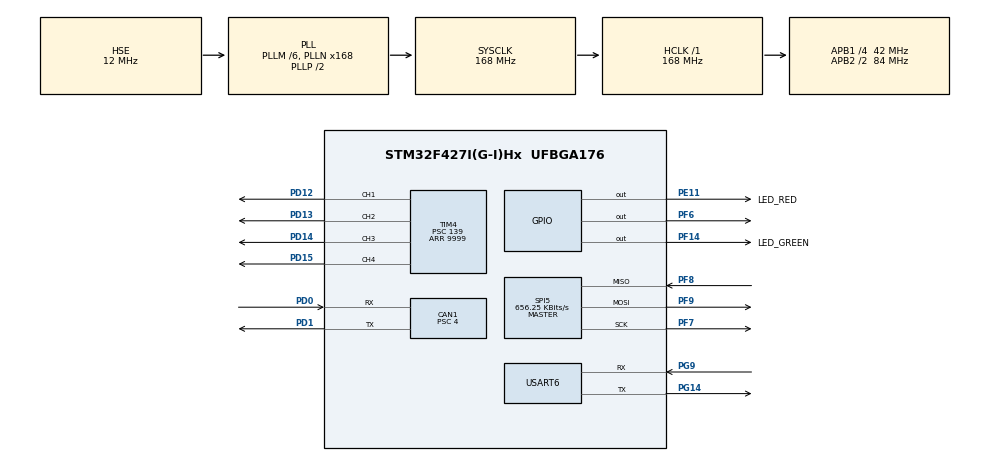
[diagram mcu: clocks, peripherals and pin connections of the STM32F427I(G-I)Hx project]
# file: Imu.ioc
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CAN1.BS1=CAN_BS1_14TQ
CAN1.BS2=CAN_BS2_6TQ
CAN1.CalculateTimeQuantum=95.23809523809524
CAN1.Prescaler=4
Mcu.Family=STM32F4
Mcu.Name=STM32F427I(G-I)Hx
Mcu.Package=UFBGA176
NVIC.CAN1_RX0_IRQn=true\:0\:0\:false\:false\:true\:true\:true\:true
NVIC.PriorityGroup=NVIC_PRIORITYGROUP_4
NVIC.TIM1_UP_TIM10_IRQn=true\:0\:0\:false\:false\:true\:true\:true\:true
NVIC.USART6_IRQn=true\:0\:0\:false\:false\:true\:true\:true\:true
PA13.Mode=Serial_Wire
PA13.Signal=SYS_JTMS-SWDIO
PA14.Mode=Serial_Wire
PA14.Signal=SYS_JTCK-SWCLK
PD0.Mode=Master
PD0.Signal=CAN1_RX
PD1.Mode=Master
PD1.Signal=CAN1_TX
PD12.Signal=S_TIM4_CH1
PD13.Signal=S_TIM4_CH2
PD14.Signal=S_TIM4_CH3
PD15.Signal=S_TIM4_CH4
PE11.GPIO_Label=LED_RED
PE11.Signal=GPIO_Output
PF14.GPIO_Label=LED_GREEN
PF14.Signal=GPIO_Output
PF6.Signal=GPIO_Output
PF7.Mode=Full_Duplex_Master
PF7.Signal=SPI5_SCK
PF8.Mode=Full_Duplex_Master
PF8.Signal=SPI5_MISO
PF9.Mode=Full_Duplex_Master
PF9.Signal=SPI5_MOSI
PG14.Mode=Asynchronous
PG14.Signal=USART6_TX
PG9.Mode=Asynchronous
PG9.Signal=USART6_RX
PH0/OSC_IN.Mode=HSE-External-Oscillator
PH0/OSC_IN.Signal=RCC_OSC_IN
PH1/OSC_OUT.Mode=HSE-External-Oscillator
PH1/OSC_OUT.Signal=RCC_OSC_OUT
ProjectManager.HeapSize=0x200
ProjectManager.StackSize=0x400
ProjectManager.TargetToolchain=MDK-ARM V5
RCC.48MHZClocksFreq_Value=84000000
RCC.AHBFreq_Value=168000000
RCC.APB1CLKDivider=RCC_HCLK_DIV4
RCC.APB1Freq_Value=42000000
RCC.APB1TimFreq_Value=84000000
RCC.APB2CLKDivider=RCC_HCLK_DIV2
RCC.APB2Freq_Value=84000000
RCC.APB2TimFreq_Value=168000000
RCC.CortexFreq_Value=168000000
RCC.HCLKFreq_Value=168000000
RCC.HSE_VALUE=12000000
RCC.HSI_VALUE=16000000
RCC.LSE_VALUE=32768
RCC.PLLM=6
RCC.PLLN=168
RCC.PLLSourceVirtual=RCC_PLLSOURCE_HSE
RCC.SYSCLKFreq_VALUE=168000000
RCC.SYSCLKSource=RCC_SYSCLKSOURCE_PLLCLK
RCC.VCOOutputFreq_Value=336000000
SH.S_TIM4_CH1.0=TIM4_CH1,PWM Generation1 CH1
SH.S_TIM4_CH2.0=TIM4_CH2,PWM Generation2 CH2
SH.S_TIM4_CH3.0=TIM4_CH3,PWM Generation3 CH3
SH.S_TIM4_CH4.0=TIM4_CH4,PWM Generation4 CH4
SPI5.BaudRatePrescaler=SPI_BAUDRATEPRESCALER_128
SPI5.CalculateBaudRate=656.25 KBits/s
SPI5.Direction=SPI_DIRECTION_2LINES
SPI5.Mode=SPI_MODE_MASTER
SPI5.VirtualType=VM_MASTER
TIM1.Period=1679
TIM1.Prescaler=9999
TIM4.Channel-PWM\ Generation1\ CH1=TIM_CHANNEL_1
TIM4.Channel-PWM\ Generation2\ CH2=TIM_CHANNEL_2
TIM4.Channel-PWM\ Generation3\ CH3=TIM_CHANNEL_3
TIM4.Channel-PWM\ Generation4\ CH4=TIM_CHANNEL_4
TIM4.Period=9999
TIM4.Prescaler=139
USART6.VirtualMode=VM_ASYNC
VP_TIM1_VS_ClockSourceINT.Mode=Internal
board=Imu

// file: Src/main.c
/* USER CODE BEGIN Header */
/**
  ******************************************************************************
  * @file           : main.c
  * @brief          : Main program body
  ******************************************************************************
  * @attention
  *
  * Copyright (c) 2024 STMicroelectronics.
  * All rights reserved.
  *
  * This software is licensed under terms that can be found in the LICENSE file
  * in the root directory of this software component.
  * If no LICENSE file comes with this software, it is provided AS-IS.
  *
  ******************************************************************************
  */
/* USER CODE END Header */
#include "main.h"
#include "can.h"
#include "spi.h"
#include "tim.h"
#include "usart.h"
#include "gpio.h"

/* USER CODE BEGIN Includes */
#include "bsp_imu.h"
/* USER CODE END Includes */

/* USER CODE BEGIN PV */
/* Private variables ---------------------------------------------------------*/
extern UART_HandleTypeDef huart6;
extern imu_t              imu;
char buf[300];
int count;
 double flag = 0;
  uint8_t begin_state = 0;
	double jumps=0;
	uint16_t frequency=0;
	uint8_t pre_state = 0;
	uint8_t now_state = 0;
volatile uint8_t can_receive[8];

/* USER CODE END PV */

void SystemClock_Config(void);
/* USER CODE BEGIN PFP */
/* Private function prototypes -----------------------------------------------*/
//set the can filter
void can_filter_init(void)
{
    CAN_FilterTypeDef can_filter_st;
    can_filter_st.FilterActivation = ENABLE;
    can_filter_st.FilterMode = CAN_FILTERMODE_IDMASK;
    can_filter_st.FilterScale = CAN_FILTERSCALE_32BIT;

    //filter the can id
    can_filter_st.FilterIdHigh = 0x233 << 5;
    can_filter_st.FilterIdLow = 0x0000;
    can_filter_st.FilterMaskIdHigh = 0xFFE0;
    can_filter_st.FilterMaskIdLow = 0x0000;

    can_filter_st.FilterBank = 0;
    can_filter_st.FilterFIFOAssignment = CAN_RX_FIFO0;

    HAL_CAN_ConfigFilter(&hcan1, &can_filter_st);
    HAL_CAN_Start(&hcan1);
    HAL_CAN_ActivateNotification(&hcan1, CAN_IT_RX_FIFO0_MSG_PENDING);
}

//when receive the can signal
void HAL_CAN_RxFifo0MsgPendingCallback(CAN_HandleTypeDef *hcan)
{
    CAN_RxHeaderTypeDef RxHeader;
    uint8_t RxData[8]; // RxData

    if (HAL_CAN_GetRxMessage(hcan, CAN_RX_FIFO0, &RxHeader, RxData) == HAL_OK)
			{
			HAL_GPIO_TogglePin(LED_RED_GPIO_Port, LED_RED_Pin);
        if (RxHeader.StdId == 0x233)
					{
            for (int i = 0; i < 8; i++)
						{
                can_receive[i] = RxData[i];//store the message in can_receive[8]
            }
        }
    }
}

//send the frequency via can
HAL_StatusTypeDef sendFrequencyViaCAN(CAN_HandleTypeDef *hcan, uint8_t FreValue[4]) {
    CAN_TxHeaderTypeDef pHeader;
    pHeader.StdId = 0x433;
    pHeader.ExtId = 0x01;
    pHeader.RTR = CAN_RTR_DATA;
    pHeader.IDE = CAN_ID_STD;
    pHeader.DLC = 4;
    uint32_t pTxMailbox;
    HAL_StatusTypeDef status = HAL_CAN_AddTxMessage(hcan, &pHeader, FreValue, &pTxMailbox);
    return status;
}

void HAL_TIM_PeriodElapsedCallback(TIM_HandleTypeDef *htim)
{
    if(htim == &htim1)//10Hz
    {

      HAL_GPIO_TogglePin(LED_GREEN_GPIO_Port, LED_GREEN_Pin);
			frequency=jumps/0.1;
			uint8_t frequency_send[4]={0,0,0,0};
			frequency_send[0] = (uint8_t)(frequency >> 8);
			frequency_send[1] = (uint8_t)(frequency & 0xFF);
//			frequency_send[0]=frequency;
			sendFrequencyViaCAN(&hcan1,frequency_send);

			frequency=0;
			jumps=0;

			mpu_get_data();

			}

}
/* USER CODE END PFP */

int main(void)
{

  /* MCU Configuration--------------------------------------------------------*/

  /* Reset of all peripherals, Initializes the Flash interface and the Systick. */
  HAL_Init();

  /* Configure the system clock */
  SystemClock_Config();

  /* Initialize all configured peripherals */
  MX_GPIO_Init();
  MX_SPI5_Init();
  MX_USART6_UART_Init();
  MX_CAN1_Init();
  MX_TIM1_Init();
  MX_TIM4_Init();
  /* USER CODE BEGIN 2 */
	  can_filter_init();
	  HAL_TIM_Base_Start_IT(&htim1);
	  HAL_TIM_Base_Start(&htim4);
    HAL_TIM_PWM_Start(&htim4, TIM_CHANNEL_1);
    HAL_TIM_PWM_Start(&htim4, TIM_CHANNEL_2);
    HAL_TIM_PWM_Start(&htim4, TIM_CHANNEL_3);
    HAL_TIM_PWM_Start(&htim4, TIM_CHANNEL_4);

  /* USER CODE END 2 */

  /* Infinite loop */
  while (1)
  {

    /* USER CODE BEGIN 3 */
		uint8_t gpio_state = 0; // store the state of GPIO
		gpio_state = HAL_GPIO_ReadPin(GPIOI, GPIO_PIN_0);
		pre_state=now_state;
		now_state=gpio_state;

    // 使用临时变量储存can_receive的值
    uint16_t pwm_value1, pwm_value2;

    // 禁用中断防止数据被修改
    __disable_irq();
    pwm_value1 = (can_receive[0] << 8) | can_receive[1];
    pwm_value2 = (can_receive[2] << 8) | can_receive[3];
    __enable_irq();

    // 设置PWM占空比
    __HAL_TIM_SetCompare(&htim4, TIM_CHANNEL_1, pwm_value1);
    __HAL_TIM_SetCompare(&htim4, TIM_CHANNEL_2, pwm_value1);
    __HAL_TIM_SetCompare(&htim4, TIM_CHANNEL_3, pwm_value2);
    __HAL_TIM_SetCompare(&htim4, TIM_CHANNEL_4, pwm_value2);

	    	if (begin_state <9)
        {
         HAL_GPIO_WritePin(GPIOF,GPIO_PIN_14,1);
		     HAL_GPIO_WritePin(GPIOE,GPIO_PIN_11,0);
					begin_state++;

        }
				if (begin_state > 8 && begin_state < 20)
				{
					HAL_GPIO_WritePin(GPIOF,GPIO_PIN_14,0);
		      HAL_GPIO_WritePin(GPIOE,GPIO_PIN_11,1);
					begin_state++;
				}
				if (begin_state == 20)
				{
					HAL_GPIO_TogglePin(LED_GREEN_GPIO_Port, LED_GREEN_Pin);
					begin_state++;
				}

				if (now_state == 1)
        {
          	if (pre_state == 0)
						{
							jumps++;
						}
        }
  }

  /* USER CODE END 3 */
}

void SystemClock_Config(void)
{
  RCC_OscInitTypeDef RCC_OscInitStruct = {0};
  RCC_ClkInitTypeDef RCC_ClkInitStruct = {0};

  /** Configure the main internal regulator output voltage
  */
  __HAL_RCC_PWR_CLK_ENABLE();
  __HAL_PWR_VOLTAGESCALING_CONFIG(PWR_REGULATOR_VOLTAGE_SCALE1);

  /** Initializes the RCC Oscillators according to the specified parameters
  * in the RCC_OscInitTypeDef structure.
  */
  RCC_OscInitStruct.OscillatorType = RCC_OSCILLATORTYPE_HSE;
  RCC_OscInitStruct.HSEState = RCC_HSE_ON;
  RCC_OscInitStruct.PLL.PLLState = RCC_PLL_ON;
  RCC_OscInitStruct.PLL.PLLSource = RCC_PLLSOURCE_HSE;
  RCC_OscInitStruct.PLL.PLLM = 6;
  RCC_OscInitStruct.PLL.PLLN = 168;
  RCC_OscInitStruct.PLL.PLLP = RCC_PLLP_DIV2;
  RCC_OscInitStruct.PLL.PLLQ = 4;
  if (HAL_RCC_OscConfig(&RCC_OscInitStruct) != HAL_OK)
  {
    Error_Handler();
  }

  /** Initializes the CPU, AHB and APB buses clocks
  */
  RCC_ClkInitStruct.ClockType = RCC_CLOCKTYPE_HCLK|RCC_CLOCKTYPE_SYSCLK
                              |RCC_CLOCKTYPE_PCLK1|RCC_CLOCKTYPE_PCLK2;
  RCC_ClkInitStruct.SYSCLKSource = RCC_SYSCLKSOURCE_PLLCLK;
  RCC_ClkInitStruct.AHBCLKDivider = RCC_SYSCLK_DIV1;
  RCC_ClkInitStruct.APB1CLKDivider = RCC_HCLK_DIV4;
  RCC_ClkInitStruct.APB2CLKDivider = RCC_HCLK_DIV2;

  if (HAL_RCC_ClockConfig(&RCC_ClkInitStruct, FLASH_LATENCY_5) != HAL_OK)
  {
    Error_Handler();
  }
}

void Error_Handler(void)
{
  while(1)
  {
  }
}
